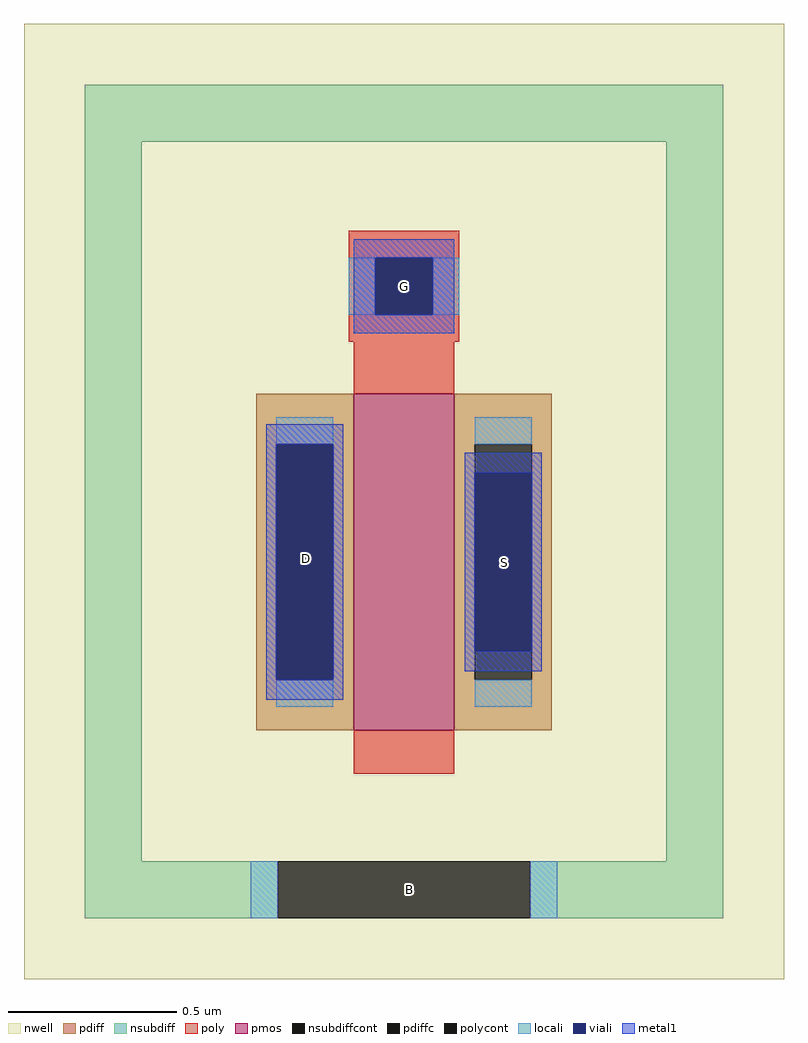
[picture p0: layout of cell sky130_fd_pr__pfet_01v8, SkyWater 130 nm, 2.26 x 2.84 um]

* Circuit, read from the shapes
.subckt sky130_fd_pr__pfet_01v8 D S G B
XM1 S G D B sky130_fd_pr__pfet_01v8 w=1 l=0.3
.ends

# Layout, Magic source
magic
tech sky130B
magscale 1 2
<< nwell >>
rect -226 -284 226 284
<< pmos >>
rect -30 -136 30 64
<< pdiff >>
rect -88 34 -30 64
rect -88 -106 -76 34
rect -42 -106 -30 34
rect -88 -136 -30 -106
rect 30 34 88 64
rect 30 -106 42 34
rect 76 -106 88 34
rect 30 -136 88 -106
<< pdiffc >>
rect -76 -106 -42 34
rect 42 -106 76 34
<< nsubdiff >>
rect -190 214 190 248
rect -190 -214 -156 214
rect 156 -214 190 214
rect -190 -248 -75 -214
rect 75 -248 190 -214
<< nsubdiffcont >>
rect -75 -248 75 -214
<< poly >>
rect -33 145 33 161
rect -33 111 -17 145
rect 17 111 33 145
rect -33 95 33 111
rect -30 64 30 95
rect -30 -162 30 -136
<< polycont >>
rect -17 111 17 145
<< locali >>
rect -33 111 -17 145
rect 17 111 33 145
rect -76 34 -42 50
rect -76 -122 -42 -106
rect 42 34 76 50
rect 42 -122 76 -106
rect -91 -248 -75 -214
rect 75 -248 91 -214
<< viali >>
rect -17 111 17 145
rect -76 -106 -42 34
rect 42 -89 76 17
<< metal1 >>
rect -30 145 30 156
rect -30 111 -17 145
rect 17 111 30 145
rect -30 100 30 111
rect -82 34 -36 46
rect -82 -106 -76 34
rect -42 -106 -36 34
rect 36 17 82 29
rect 36 -89 42 17
rect 76 -89 82 17
rect 36 -101 82 -89
rect -82 -118 -36 -106
<< labels >>
flabel viali -58 -34 -58 -34 0 FreeSans 480 0 0 0 D
port 0 nsew
flabel viali 60 -36 60 -36 0 FreeSans 480 0 0 0 S
port 1 nsew
flabel viali 0 128 0 128 0 FreeSans 480 0 0 0 G
port 2 nsew
flabel nwell -108 -262 114 -200 0 FreeSans 480 0 0 0 B
port 3 nsew
<< end >>
